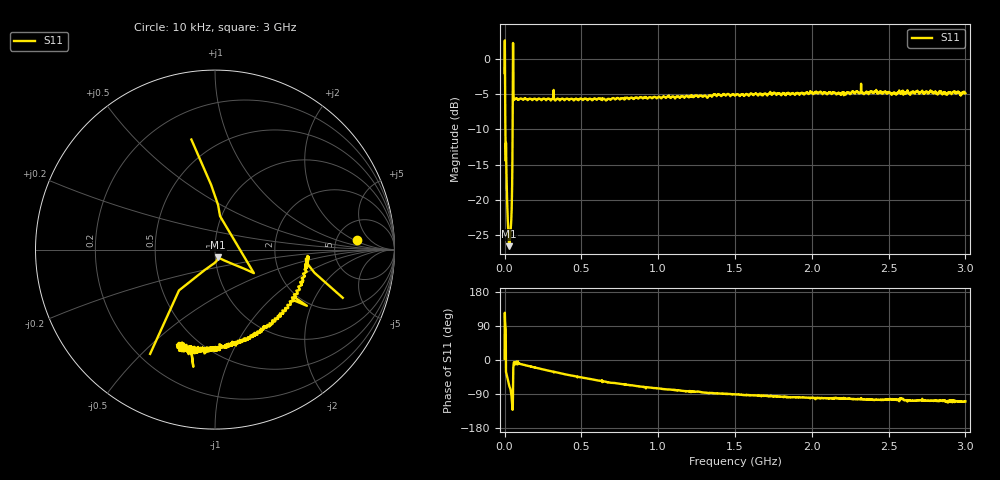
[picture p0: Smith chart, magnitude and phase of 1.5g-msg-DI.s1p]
# HZ S RI R 50
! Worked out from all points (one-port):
!   2020 points, 10 kHz to 3 GHz, reference 50 ohm
!   lowest |S11| = -26.6 dB at 29.73 MHz (marker M1), VSWR 1.10, Z = 51.6 - j4.5 ohm
!   |S11| at or under -10 dB: 5.002 MHz to 52.09 MHz (47.09 MHz wide, 165 % of centre)
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10000  0.7886 0.0508
7439395  0.0281 0.1865
1.635467e7  0.0704 -0.0682
1.932643e7  0.0504 -0.0599
2.229818e7  0.037 -0.0535
2.972758e7  0.0174 -0.0436
3.418522e7  0.016 -0.0493
3.715698e7  0.0138 -0.0547
3.864285e7  0.0123 -0.058
4.012873e7  0.00923 -0.0619
4.161461e7  0.00726 -0.0655
5.795928e7  0.554 -0.129
6.39028e7  0.5104 -0.06
6.836043e7  0.5066 -0.1042
6.984631e7  0.5164 -0.0554
7.133219e7  0.5178 -0.0536
7.430395e7  0.5169 -0.0714
3.759374e8  0.4204 -0.3073
6.01791e8  0.3048 -0.4129
7.503789e8  0.2369 -0.4557
1.126306e9  0.095 -0.5333
1.500748e9  -0.00604 -0.5468
1.875189e9  -0.0836 -0.5643
2.251117e9  -0.1185 -0.5514
2.413077e9  -0.1513 -0.5633
2.586925e9  -0.1327 -0.569
2.625558e9  -0.1732 -0.5581
3e9  -0.1868 -0.5377
